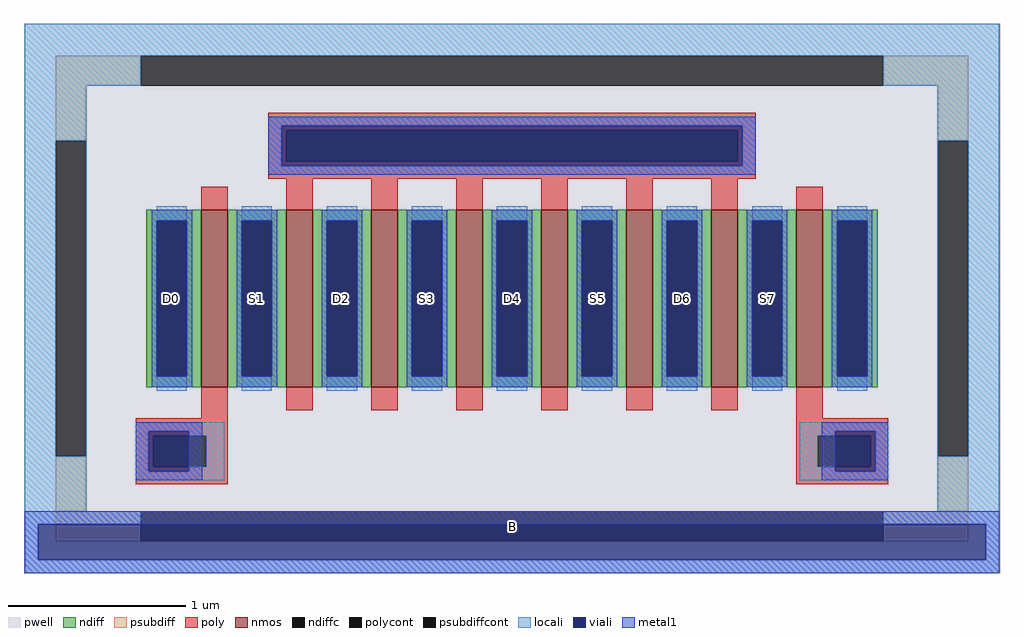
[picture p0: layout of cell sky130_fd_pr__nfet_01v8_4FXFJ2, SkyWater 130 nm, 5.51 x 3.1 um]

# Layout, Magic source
magic
tech sky130A
magscale 1 2
<< pwell >>
rect -551 -310 551 310
<< nmos >>
rect -351 -100 -321 100
rect -255 -100 -225 100
rect -159 -100 -129 100
rect -63 -100 -33 100
rect 33 -100 63 100
rect 129 -100 159 100
rect 225 -100 255 100
rect 321 -100 351 100
<< ndiff >>
rect -413 88 -351 100
rect -413 -88 -401 88
rect -367 -88 -351 88
rect -413 -100 -351 -88
rect -321 88 -255 100
rect -321 -88 -305 88
rect -271 -88 -255 88
rect -321 -100 -255 -88
rect -225 88 -159 100
rect -225 -88 -209 88
rect -175 -88 -159 88
rect -225 -100 -159 -88
rect -129 88 -63 100
rect -129 -88 -113 88
rect -79 -88 -63 88
rect -129 -100 -63 -88
rect -33 88 33 100
rect -33 -88 -17 88
rect 17 -88 33 88
rect -33 -100 33 -88
rect 63 88 129 100
rect 63 -88 79 88
rect 113 -88 129 88
rect 63 -100 129 -88
rect 159 88 225 100
rect 159 -88 175 88
rect 209 -88 225 88
rect 159 -100 225 -88
rect 255 88 321 100
rect 255 -88 271 88
rect 305 -88 321 88
rect 255 -100 321 -88
rect 351 88 413 100
rect 351 -88 367 88
rect 401 -88 413 88
rect 351 -100 413 -88
<< ndiffc >>
rect -401 -88 -367 88
rect -305 -88 -271 88
rect -209 -88 -175 88
rect -113 -88 -79 88
rect -17 -88 17 88
rect 79 -88 113 88
rect 175 -88 209 88
rect 271 -88 305 88
rect 367 -88 401 88
<< psubdiff >>
rect -515 240 -419 274
rect 419 240 515 274
rect -515 178 -481 240
rect 481 178 515 240
rect -515 -240 -481 -178
rect 481 -240 515 -178
rect -515 -274 -419 -240
rect 419 -274 515 -240
<< psubdiffcont >>
rect -419 240 419 274
rect -515 -178 -481 178
rect 481 -178 515 178
rect -419 -274 419 -240
<< poly >>
rect -275 190 275 210
rect -275 155 -255 190
rect 255 155 275 190
rect -275 135 275 155
rect -351 100 -321 126
rect -255 100 -225 135
rect -159 100 -129 135
rect -63 100 -33 135
rect 33 100 63 135
rect 129 100 159 135
rect 225 100 255 135
rect 321 100 351 126
rect -351 -135 -321 -100
rect -255 -126 -225 -100
rect -159 -126 -129 -100
rect -63 -126 -33 -100
rect 33 -126 63 -100
rect 129 -126 159 -100
rect 225 -126 255 -100
rect -425 -155 -321 -135
rect -425 -190 -405 -155
rect -345 -190 -321 -155
rect -425 -210 -321 -190
rect 321 -135 351 -100
rect 321 -155 425 -135
rect 321 -190 345 -155
rect 405 -190 425 -155
rect 321 -210 425 -190
<< polycont >>
rect -255 155 255 190
rect -405 -190 -345 -155
rect 345 -190 405 -155
<< locali >>
rect -550 274 550 310
rect -550 240 -419 274
rect 419 240 550 274
rect -550 178 -480 240
rect -550 -178 -515 178
rect -481 -178 -480 178
rect -275 195 275 205
rect -275 150 -260 195
rect 260 150 275 195
rect -275 140 275 150
rect 480 178 550 240
rect -401 88 -367 104
rect -401 -104 -367 -88
rect -305 88 -271 104
rect -305 -104 -271 -88
rect -209 88 -175 104
rect -209 -104 -175 -88
rect -113 88 -79 104
rect -113 -104 -79 -88
rect -17 88 17 104
rect -17 -104 17 -88
rect 79 88 113 104
rect 79 -104 113 -88
rect 175 88 209 104
rect 175 -104 209 -88
rect 271 88 305 104
rect 271 -104 305 -88
rect 367 88 401 104
rect 367 -104 401 -88
rect -550 -240 -480 -178
rect -425 -150 -325 -140
rect -425 -195 -410 -150
rect -365 -155 -325 -150
rect -345 -190 -325 -155
rect -365 -195 -325 -190
rect -425 -205 -325 -195
rect 325 -150 425 -140
rect 325 -155 365 -150
rect 325 -190 345 -155
rect 325 -195 365 -190
rect 410 -195 425 -150
rect 325 -205 425 -195
rect 480 -178 481 178
rect 515 -178 550 178
rect 480 -240 550 -178
rect -550 -255 -419 -240
rect 419 -255 550 -240
rect -550 -295 -535 -255
rect 535 -295 550 -255
rect -550 -310 550 -295
<< viali >>
rect -260 190 260 195
rect -260 155 -255 190
rect -255 155 255 190
rect 255 155 260 190
rect -260 150 260 155
rect -401 -88 -367 88
rect -305 -88 -271 88
rect -209 -88 -175 88
rect -113 -88 -79 88
rect -17 -88 17 88
rect 79 -88 113 88
rect 175 -88 209 88
rect 271 -88 305 88
rect 367 -88 401 88
rect -410 -155 -365 -150
rect -410 -190 -405 -155
rect -405 -190 -365 -155
rect -410 -195 -365 -190
rect 365 -155 410 -150
rect 365 -190 405 -155
rect 405 -190 410 -155
rect 365 -195 410 -190
rect -535 -274 -419 -255
rect -419 -274 419 -255
rect 419 -274 535 -255
rect -535 -295 535 -274
<< metal1 >>
rect -275 195 275 205
rect -275 150 -260 195
rect 260 150 275 195
rect -275 140 275 150
rect -407 88 -361 100
rect -407 -88 -401 88
rect -367 -88 -361 88
rect -407 -100 -361 -88
rect -311 88 -265 100
rect -311 -88 -305 88
rect -271 -88 -265 88
rect -311 -100 -265 -88
rect -215 88 -169 100
rect -215 -88 -209 88
rect -175 -88 -169 88
rect -215 -100 -169 -88
rect -119 88 -73 100
rect -119 -88 -113 88
rect -79 -88 -73 88
rect -119 -100 -73 -88
rect -23 88 23 100
rect -23 -88 -17 88
rect 17 -88 23 88
rect -23 -100 23 -88
rect 73 88 119 100
rect 73 -88 79 88
rect 113 -88 119 88
rect 73 -100 119 -88
rect 169 88 215 100
rect 169 -88 175 88
rect 209 -88 215 88
rect 169 -100 215 -88
rect 265 88 311 100
rect 265 -88 271 88
rect 305 -88 311 88
rect 265 -100 311 -88
rect 361 88 407 100
rect 361 -88 367 88
rect 401 -88 407 88
rect 361 -100 407 -88
rect -425 -150 -350 -140
rect -425 -195 -410 -150
rect -365 -195 -350 -150
rect -425 -205 -350 -195
rect 350 -150 425 -140
rect 350 -195 365 -150
rect 410 -195 425 -150
rect 350 -205 425 -195
rect -550 -255 550 -240
rect -550 -295 -535 -255
rect 535 -295 550 -255
rect -550 -310 550 -295
<< labels >>
rlabel psubdiffcont 0 -257 0 -257 0 B
port 1 nsew
rlabel ndiffc -384 0 -384 0 0 D0
port 2 nsew
rlabel ndiffc -288 0 -288 0 0 S1
port 4 nsew
rlabel ndiffc -192 0 -192 0 0 D2
port 6 nsew
rlabel ndiffc -96 0 -96 0 0 S3
port 8 nsew
rlabel ndiffc 0 0 0 0 0 D4
port 10 nsew
rlabel ndiffc 96 0 96 0 0 S5
port 12 nsew
rlabel ndiffc 192 0 192 0 0 D6
port 14 nsew
rlabel ndiffc 288 0 288 0 0 S7
port 16 nsew
<< properties >>
string FIXED_BBOX -498 -257 498 257
string gencell sky130_fd_pr__nfet_01v8
string library sky130
string parameters w 1.0 l 0.150 m 1 nf 8 diffcov 100 polycov 100 guard 1 glc 1 grc 1 gtc 1 gbc 1 tbcov 100 rlcov 100 topc 1 botc 1 poverlap 0 doverlap 1 lmin 0.15 wmin 0.42 class mosfet compatible {sky130_fd_pr__nfet_01v8 sky130_fd_pr__nfet_01v8_lvt  sky130_fd_bs_flash__special_sonosfet_star  sky130_fd_pr__nfet_g5v0d10v5 sky130_fd_pr__nfet_05v0_nvt  sky130_fd_pr__nfet_03v3_nvt} full_metal 1 conn_gates 0 viasrc 100 viadrn 100 viagate 100 viagb 0 viagr 0 viagl 0 viagt 0 doports 1
<< end >>
